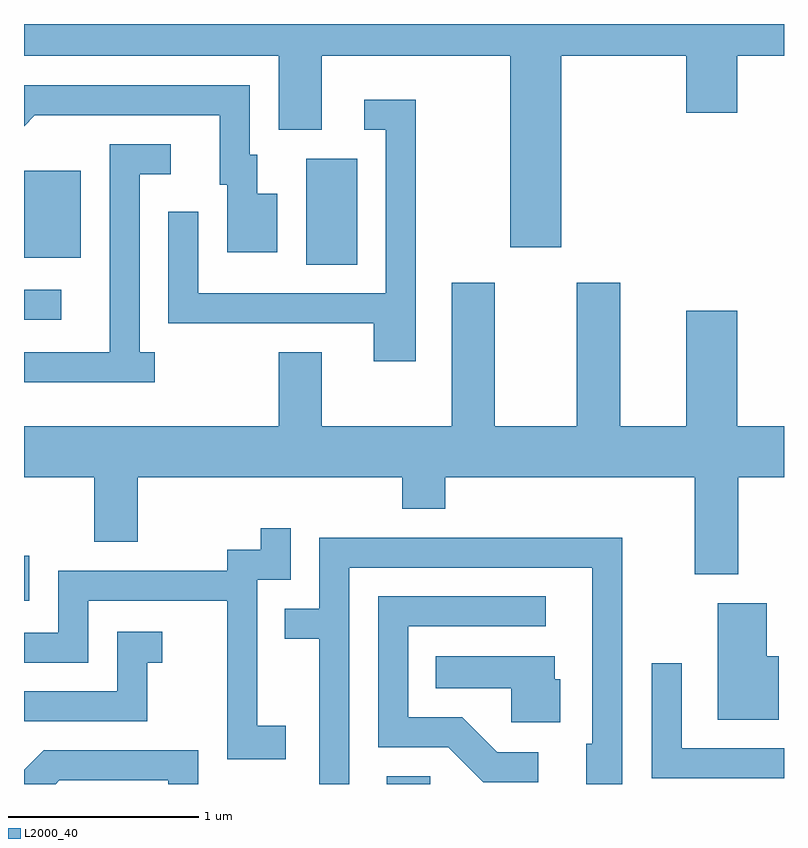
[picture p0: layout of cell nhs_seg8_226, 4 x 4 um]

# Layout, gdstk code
import gdstk
lib = gdstk.Library(unit=1e-6, precision=1e-09)
def R(c, l, rs):  # rectangles x0, y0, x1, y1
    for r in rs: c.add(gdstk.rectangle(r[:2], r[2:], *l))
def P(c, l, *ps):  # polygons
    for p in ps: c.add(gdstk.Polygon(p, *l))
L2000_40 = (2000, 40)

nhs_seg8_226 = lib.new_cell('nhs_seg8_226')
R(nhs_seg8_226, L2000_40, [(193.521,1850.342,193.749,1850.384), (191.611,1851.306,191.639,1851.543), (191.611,1852.786,191.808,1852.944), (193.096,1853.076,193.364,1853.634), (191.611,1853.111,191.909,1853.569)])
P(nhs_seg8_226, L2000_40, [(194.439,1854.176),(195.096,1854.176),(195.096,1853.876),(195.364,1853.876),(195.364,1854.176),(195.611,1854.176),(195.611,1854.342),(191.611,1854.342),(191.611,1854.176),(192.951,1854.176),(192.951,1853.786),(193.179,1853.786),(193.179,1854.176),(194.171,1854.176),(194.171,1853.166),(194.439,1853.166)],
  [(192.944,1853.449),(192.839,1853.449),(192.839,1853.654),(192.799,1853.654),(192.799,1854.019),(191.611,1854.019),(191.611,1853.805),(191.667,1853.861),(192.641,1853.861),(192.641,1853.496),(192.681,1853.496),(192.681,1853.141),(192.944,1853.141)],
  [(193.674,1853.944),(193.403,1853.944),(193.403,1853.786),(193.516,1853.786),(193.516,1852.924),(192.529,1852.924),(192.529,1853.353),(192.371,1853.353),(192.371,1852.766),(193.451,1852.766),(193.451,1852.566),(193.674,1852.566)],
  [(192.298,1852.614),(192.219,1852.614),(192.219,1853.551),(192.383,1853.551),(192.383,1853.709),(192.061,1853.709),(192.061,1852.614),(191.611,1852.614),(191.611,1852.456),(192.298,1852.456)],
  [(195.369,1851.956),(195.611,1851.956),(195.611,1852.224),(195.364,1852.224),(195.364,1852.834),(195.096,1852.834),(195.096,1852.224),(194.749,1852.224),(194.749,1852.979),(194.521,1852.979),(194.521,1852.224),(194.089,1852.224),(194.089,1852.979),(193.861,1852.979),(193.861,1852.224),(193.179,1852.224),(193.179,1852.614),(192.951,1852.614),(192.951,1852.224),(191.611,1852.224),(191.611,1851.956),(191.981,1851.956),(191.981,1851.616),(192.209,1851.616),(192.209,1851.956),(193.601,1851.956),(193.601,1851.791),(193.829,1851.791),(193.829,1851.956),(195.141,1851.956),(195.141,1851.446),(195.369,1851.446)],
  [(192.989,1850.649),(192.839,1850.649),(192.839,1851.416),(193.014,1851.416),(193.014,1851.688),(192.856,1851.688),(192.856,1851.574),(192.681,1851.574),(192.681,1851.464),(191.791,1851.464),(191.791,1851.139),(191.611,1851.139),(191.611,1850.981),(191.949,1850.981),(191.949,1851.306),(192.681,1851.306),(192.681,1850.471),(192.989,1850.471)],
  [(193.324,1851.481),(194.601,1851.481),(194.601,1850.554),(194.571,1850.554),(194.571,1850.342),(194.759,1850.342),(194.759,1851.639),(193.166,1851.639),(193.166,1851.264),(192.983,1851.264),(192.983,1851.106),(193.166,1851.106),(193.166,1850.342),(193.324,1850.342)],
  [(194.318,1850.509),(194.102,1850.509),(193.917,1850.694),(193.634,1850.694),(193.634,1851.171),(194.358,1851.171),(194.358,1851.329),(193.476,1851.329),(193.476,1850.536),(193.844,1850.536),(194.029,1850.351),(194.318,1850.351)],
  [(195.584,1851.014),(195.519,1851.014),(195.519,1851.294),(195.261,1851.294),(195.261,1850.681),(195.584,1850.681)],
  [(192.259,1850.981),(192.338,1850.981),(192.338,1851.144),(192.101,1851.144),(192.101,1850.829),(191.611,1850.829),(191.611,1850.671),(192.259,1850.671)],
  [(194.434,1850.894),(194.404,1850.894),(194.404,1851.014),(193.778,1851.014),(193.778,1850.846),(194.176,1850.846),(194.176,1850.666),(194.434,1850.666)],
  [(195.611,1850.529),(195.074,1850.529),(195.074,1850.978),(194.916,1850.978),(194.916,1850.371),(195.611,1850.371)],
  [(191.797,1850.361),(192.371,1850.361),(192.371,1850.342),(192.529,1850.342),(192.529,1850.519),(191.714,1850.519),(191.611,1850.416),(191.611,1850.342),(191.778,1850.342)])

lib.write_gds('nhs_seg8_226.gds')
